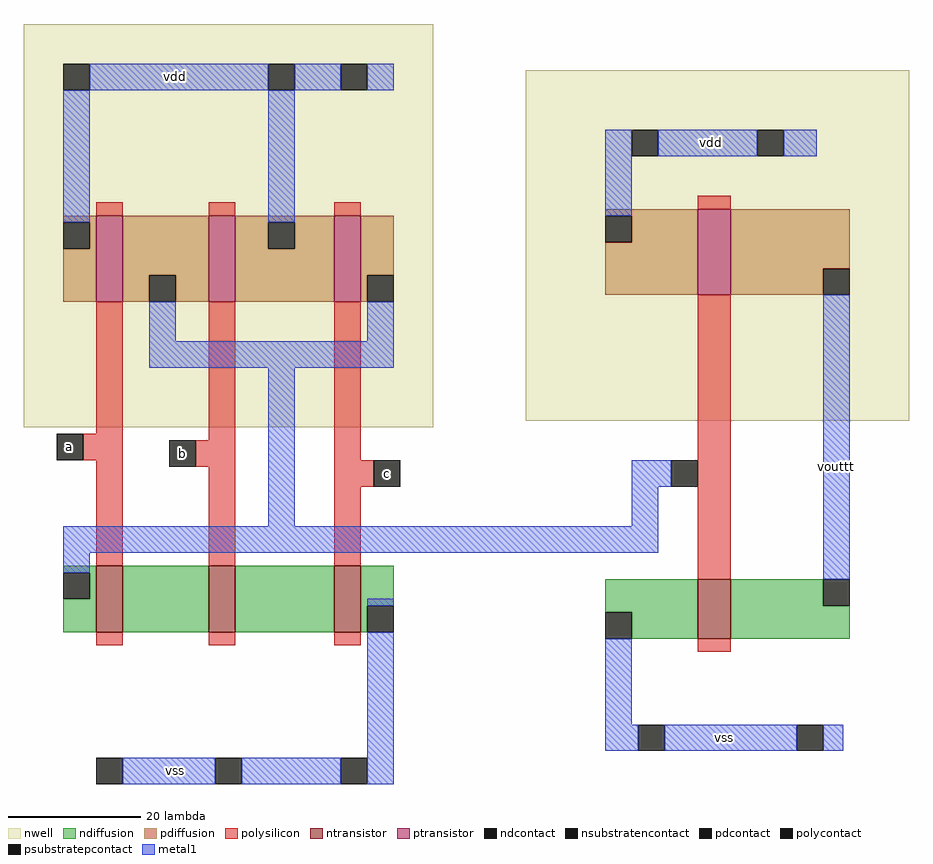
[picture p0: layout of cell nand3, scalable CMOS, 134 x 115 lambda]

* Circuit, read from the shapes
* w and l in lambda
.subckt nand3 a b c vdd vouttt vss
M1 n1 a n2 vss nfet w=10 l=4
M2 n3 b n1 vss nfet w=10 l=4
M3 vss c n3 vss nfet w=10 l=4
M4 vouttt n2 vss vss nfet w=9 l=5
M5 n2 a vdd vdd pfet w=13 l=4
M6 vdd b n2 vdd pfet w=13 l=4
M7 n2 c vdd vdd pfet w=13 l=4
M8 vouttt n2 vdd vdd pfet w=13 l=5
.ends

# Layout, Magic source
magic
tech scmos
<< nwell >>
rect -18 -19 44 42
rect 58 -18 116 35
<< polysilicon >>
rect -7 13 -3 15
rect 10 13 14 15
rect 29 13 33 15
rect 84 14 89 16
rect -7 -20 -3 0
rect -9 -24 -3 -20
rect 10 -21 14 0
rect -7 -40 -3 -24
rect 8 -25 14 -21
rect 10 -40 14 -25
rect 29 -24 33 0
rect 29 -28 35 -24
rect 29 -40 33 -28
rect 84 -42 89 1
rect -7 -52 -3 -50
rect 10 -52 14 -50
rect 29 -52 33 -50
rect 84 -53 89 -51
<< ndiffusion >>
rect -12 -41 -7 -40
rect -8 -45 -7 -41
rect -12 -50 -7 -45
rect -3 -50 10 -40
rect 14 -50 29 -40
rect 33 -46 38 -40
rect 33 -50 34 -46
rect 70 -47 84 -42
rect 74 -51 84 -47
rect 89 -46 103 -42
rect 89 -51 107 -46
<< pdiffusion >>
rect 70 13 84 14
rect -12 12 -7 13
rect -8 8 -7 12
rect -12 0 -7 8
rect -3 4 10 13
rect -3 0 1 4
rect 5 0 10 4
rect 14 12 29 13
rect 14 8 19 12
rect 23 8 29 12
rect 14 0 29 8
rect 33 4 38 13
rect 33 0 34 4
rect 74 9 84 13
rect 70 1 84 9
rect 89 5 107 14
rect 89 1 103 5
<< metal1 >>
rect -8 32 19 36
rect 23 32 30 36
rect 34 32 38 36
rect -12 12 -8 32
rect 19 12 23 32
rect 70 13 74 26
rect 78 22 93 26
rect 97 22 102 26
rect 1 -6 5 0
rect 34 -6 38 0
rect 1 -10 38 -6
rect 19 -34 23 -10
rect 74 -28 80 -24
rect 74 -34 78 -28
rect -12 -38 78 -34
rect -12 -41 -8 -38
rect 103 -42 107 1
rect 34 -46 38 -45
rect -3 -73 11 -69
rect 15 -73 30 -69
rect 34 -73 38 -50
rect 70 -64 74 -51
rect 70 -68 75 -64
rect 79 -68 99 -64
rect 103 -68 106 -64
<< ntransistor >>
rect -7 -50 -3 -40
rect 10 -50 14 -40
rect 29 -50 33 -40
rect 84 -51 89 -42
<< ptransistor >>
rect -7 0 -3 13
rect 10 0 14 13
rect 29 0 33 13
rect 84 1 89 14
<< polycontact >>
rect -13 -24 -9 -20
rect 4 -25 8 -21
rect 35 -28 39 -24
rect 80 -28 84 -24
<< ndcontact >>
rect -12 -45 -8 -41
rect 34 -50 38 -46
rect 70 -51 74 -47
rect 103 -46 107 -42
<< pdcontact >>
rect -12 8 -8 12
rect 1 0 5 4
rect 19 8 23 12
rect 34 0 38 4
rect 70 9 74 13
rect 103 1 107 5
<< psubstratepcontact >>
rect 75 -68 79 -64
rect 99 -68 103 -64
rect -7 -73 -3 -69
rect 11 -73 15 -69
rect 30 -73 34 -69
<< nsubstratencontact >>
rect -12 32 -8 36
rect 19 32 23 36
rect 30 32 34 36
rect 74 22 78 26
rect 93 22 97 26
<< labels >>
rlabel metal1 5 34 5 34 1 vdd
rlabel polycontact -11 -22 -11 -22 1 a
rlabel polycontact 6 -23 6 -23 1 b
rlabel polycontact 37 -26 37 -26 1 c
rlabel metal1 5 -71 5 -71 1 vss
rlabel metal1 105 -25 105 -25 1 vouttt
rlabel metal1 86 24 86 24 1 vdd
rlabel metal1 88 -66 88 -66 1 vss
<< end >>
